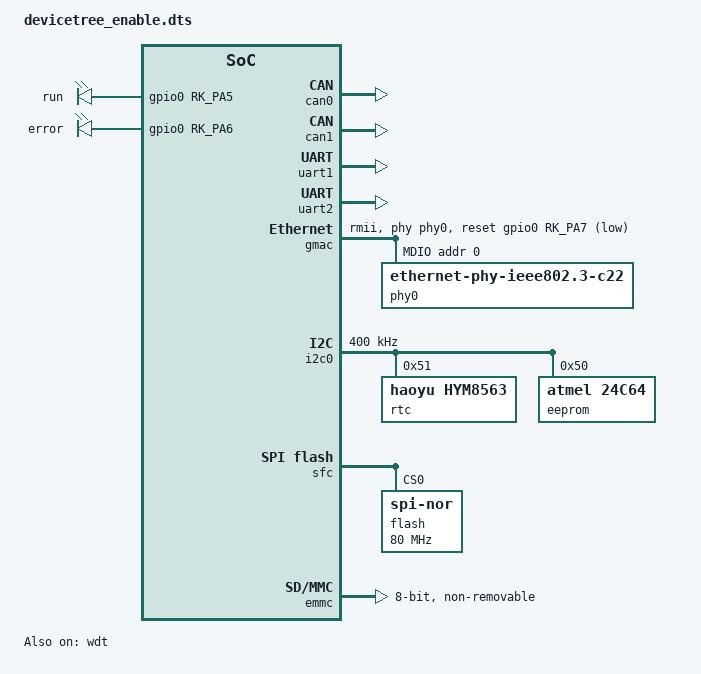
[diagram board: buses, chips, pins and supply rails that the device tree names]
/*
 * ============================================================
 * RK3506 网关裁剪 — 设备树需要【保留/启用】的节点
 *
 * 使用方法：
 * 在你的板级 dts 文件（如 rk3506-gateway.dts）中确保以下节点 okay。
 * 引脚号、PHY地址等根据实际硬件原理图修改。
 * ============================================================
 */

/* ====== ★ CAN0 ====== */
&can0 {
    status = "okay";
    pinctrl-names = "default";
    pinctrl-0 = <&can0m0_pins>;   /* 根据实际复用组修改 m0/m1 */
};

/* ====== ★ CAN1 (如有第二路 CAN) ====== */
&can1 {
    status = "okay";
    pinctrl-names = "default";
    pinctrl-0 = <&can1m0_pins>;
};

/* ====== ★ UART1 — RS485 ====== */
&uart1 {
    status = "okay";
    pinctrl-names = "default";
    pinctrl-0 = <&uart1m0_xfer>;  /* 根据实际复用组修改 */
    /* RS485 方向控制 (RTS) */
    linux,rs485-enabled-at-boot-time;
    rs485-rts-active-low;          /* 根据硬件 DE/RE 控制逻辑调整 */
    /* 或使用 GPIO 控制 RS485 方向:
     * rs485-rts-delay = <1 1>;
     * rts-gpios = <&gpio0 RK_PA4 GPIO_ACTIVE_HIGH>;
     */
};

/* ====== ★ UART2 — 调试串口 (console) ====== */
&uart2 {
    status = "okay";
    pinctrl-names = "default";
    pinctrl-0 = <&uart2m0_xfer>;
};

/* ====== ★ 以太网 GMAC ====== */
&gmac {
    status = "okay";
    phy-mode = "rmii";            /* 或 "rgmii" 根据实际硬件 */
    clock_in_out = "output";       /* 或 "input" */
    assigned-clocks = <&cru CLK_GMAC_SRC>;
    assigned-clock-rates = <50000000>;  /* RMII: 50MHz, RGMII: 125MHz */

    snps,reset-gpio = <&gpio0 RK_PA7 GPIO_ACTIVE_LOW>;
    snps,reset-active-low;
    snps,reset-delays-us = <0 50000 50000>;

    phy-handle = <&phy0>;

    mdio {
        compatible = "snps,dwmac-mdio";
        #address-cells = <1>;
        #size-cells = <0>;

        phy0: phy@0 {
            compatible = "ethernet-phy-ieee802.3-c22";
            reg = <0>;                /* PHY 地址，根据硬件修改 */
        };
    };
};

/* ====== ★ 如果有第二路以太网 (EMAC) ====== */
/*
&emac {
    status = "okay";
    phy-mode = "rmii";
    phy-handle = <&phy1>;

    mdio {
        phy1: phy@1 {
            reg = <1>;
        };
    };
};
*/

/* ====== ★ GPIO — LED / 继电器 / 方向控制 ====== */
&pinctrl {
    leds {
        led_run: led-run {
            rockchip,pins = <0 RK_PA5 RK_FUNC_GPIO &pcfg_pull_none>;
        };
        led_err: led-err {
            rockchip,pins = <0 RK_PA6 RK_FUNC_GPIO &pcfg_pull_none>;
        };
    };

    rs485 {
        rs485_dir: rs485-dir {
            rockchip,pins = <0 RK_PA4 RK_FUNC_GPIO &pcfg_pull_none>;
        };
    };
};

/* GPIO LED 子系统（可选，也可以直接操作 /sys/class/gpio） */
/ {
    leds {
        compatible = "gpio-leds";

        run-led {
            label = "run";
            gpios = <&gpio0 RK_PA5 GPIO_ACTIVE_HIGH>;
            linux,default-trigger = "heartbeat";
        };

        error-led {
            label = "error";
            gpios = <&gpio0 RK_PA6 GPIO_ACTIVE_HIGH>;
            default-state = "off";
        };
    };
};

/* ====== ★ 看门狗 ====== */
&wdt {
    status = "okay";
};

/* ====== ★ I2C0 — RTC / EEPROM ====== */
&i2c0 {
    status = "okay";
    clock-frequency = <400000>;

    /* RTC 芯片 (示例: HYM8563) */
    rtc@51 {
        compatible = "haoyu,hym8563";
        reg = <0x51>;
        #clock-cells = <0>;
        clock-output-names = "rtc_32k";
    };

    /* EEPROM (示例: AT24C64) */
    eeprom@50 {
        compatible = "atmel,24c64";
        reg = <0x50>;
        pagesize = <32>;
    };
};

/* ====== ★ SPI — SPI NOR / SPI NAND ====== */
&sfc {
    status = "okay";

    flash@0 {
        compatible = "jedec,spi-nor";  /* 或 "spi-nand" */
        reg = <0>;
        spi-max-frequency = <80000000>;
        spi-rx-bus-width = <4>;
        spi-tx-bus-width = <1>;
    };
};

/* ====== ★ eMMC (如使用 eMMC) ====== */
&emmc {
    status = "okay";
    bus-width = <8>;
    cap-mmc-highspeed;
    mmc-hs200-1_8v;
    non-removable;
    no-sdio;
    no-sd;
};

/* ====== ★ 电源管理 ====== */
&cpu0 {
    cpu-supply = <&vdd_arm>;
};
